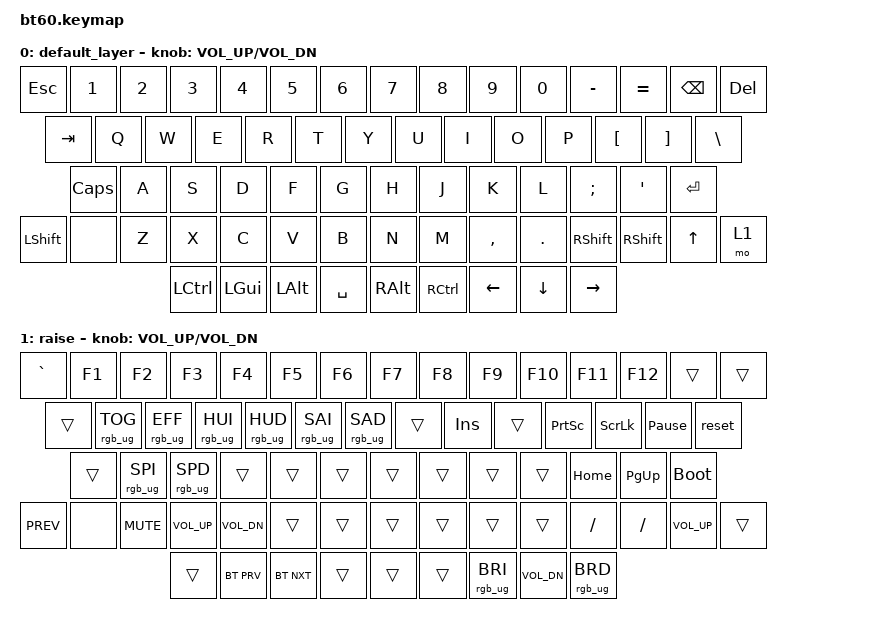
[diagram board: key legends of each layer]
#include <behaviors.dtsi>
#include <dt-bindings/zmk/keys.h>
#include <dt-bindings/zmk/bt.h>
#include <dt-bindings/zmk/rgb.h>
#include <dt-bindings/zmk/backlight.h>

/ {
	keymap {
		compatible = "zmk,keymap";

		default_layer {
				// ------------------------------------------------------------------------------------------
				// | ESC |  1  |  2  |  3  |  4  |  5  |  6  |  7  |  8  |  9  |  0  |  -  |  =  |BKSP | DEL |
				// | TAB  |  Q  |  W  |  E  |  R  |  T  |  Y  |  U  |  I  |  O  |  P  |  [  |  ]  |  |   |
				// | CAPS  |  A  |  S  |  D  |  F  |  G  |  H  |  J  |  K  |  L  |  ;  |  '  |     ENTER    |
				// |  SHIFT|NONE|  Z  |  X  |  C  |  V  |  B  |  N  |  M  |  ,  |  .  | /   | SHFT | UP | 1  |
				// |  CTL  |  WIN  |  ALT  |            SPACE              | ALT | CTRL | LEFT | DOWN | RIGHT |
				// ------------------------------------------------------------------------------------------
			bindings = <
				&kp ESC &kp N1 &kp N2 &kp N3 &kp N4 &kp N5 &kp N6 &kp N7 &kp  N8   &kp  N9 &kp  N0  &kp MINUS &kp EQUAL &kp BSPC &kp DEL
				&kp TAB  &kp Q  &kp W  &kp E  &kp R  &kp T  &kp Y  &kp U  &kp  I    &kp  O  &kp  P   &kp LBKT &kp RBKT  &kp BSLH
				&kp CLCK  &kp A  &kp S  &kp D  &kp F  &kp G  &kp H  &kp J  &kp  K    &kp  L  &kp SEMI &kp SQT           &kp RET
				&kp LSHFT &none  &kp Z  &kp X  &kp C  &kp V  &kp B  &kp N  &kp M  &kp COMMA &kp DOT &kp RSHFT &kp RSHFT &kp UP   &mo 1
				&kp LCTRL &kp LGUI &kp LALT            &kp SPACE                          &kp RALT  &kp RCTRL &kp LEFT &kp DOWN &kp RIGHT
			>;
			sensor-bindings = <&inc_dec_kp C_VOL_UP C_VOL_DN>;
		};
		raise {
			bindings = <
				&kp GRAVE &kp F1 &kp F2 &kp F3 &kp F4 &kp F5 &kp F6 &kp F7 &kp  F8   &kp  F9 &kp  F10  &kp F11 &kp F12   &trans &trans
				&trans &rgb_ug RGB_TOG &rgb_ug RGB_EFF &rgb_ug RGB_HUI &rgb_ug RGB_HUD &rgb_ug RGB_SAI &rgb_ug RGB_SAD &trans &kp INS &trans &kp PSCRN &kp SLCK &kp PAUSE_BREAK &reset
				&trans    &rgb_ug RGB_SPI &rgb_ug RGB_SPD &trans &trans &trans &trans &trans &trans &trans &kp HOME  &kp PG_UP   &bootloader
				&kp C_PREV &none &kp C_MUTE &kp C_VOL_UP &kp C_VOL_DN &trans &trans &trans &trans &trans &trans &kp FSLH &kp FSLH  &kp C_VOL_UP &trans 
				&trans &bt BT_PRV  &bt BT_NXT              &trans                            &trans  &trans &rgb_ug RGB_BRI  &kp C_VOL_DN  &rgb_ug RGB_BRD
			>;
			sensor-bindings = <&inc_dec_kp C_VOL_UP C_VOL_DN>;
		};
	};
};
